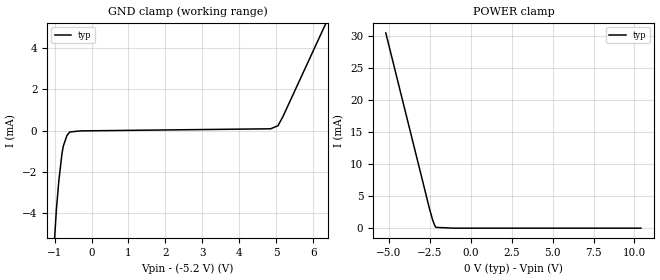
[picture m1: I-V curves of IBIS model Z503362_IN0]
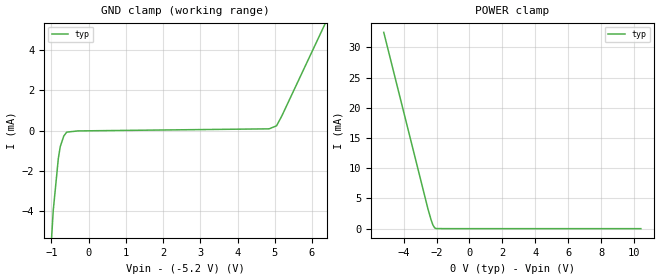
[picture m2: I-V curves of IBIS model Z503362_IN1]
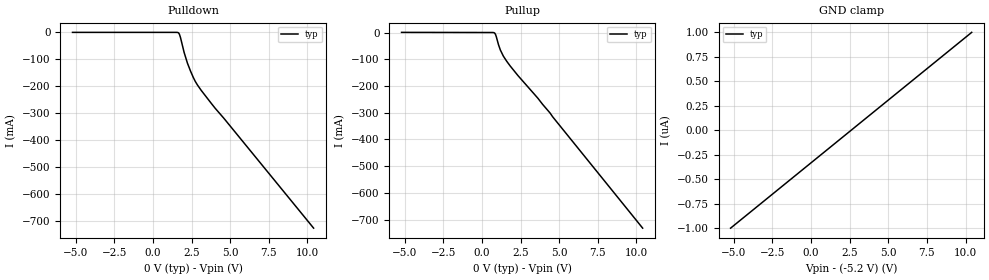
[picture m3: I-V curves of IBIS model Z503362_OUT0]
| YOU ARE ONLY AUTHORIZED TO USE THIS SOFTWARE
| ACCORDING TO LICENSOR'S LICENSE RESTRICTIONS.
[IBIS Ver] 3.1
[File Name] mc100e116fn.ibs
[File Rev] 2.0
[Source] Measured and created by ICX Technology
[Date] Friday 7/14/00 9:07:47 AM
[Copyright]
| (C) COPYRIGHT 1993-2000
| MENTOR GRAPHICS CORPORATION
| ICX STANDARD LIBRARY, ICX PROJECT MODELING,
| ICX CUSTOM MODELING, ICX VENDOR MODEL
| ALL RIGHTS RESERVED.
| THE FOLLOWING ARE TRADEMARKS OR SERVICE MARKS OF
| MENTOR GRAPHICS CORPORATION:ICX (R), ICX STANDARD
| LIBRARY(R), ICX PROJECT MODELING(R), ICX CUSTOM
| MODELING(R), qualityIBIS(TM), MODELVIEWER(TM),
| AND MODELEDITOR(TM)
| ALL COPIES OF SOFTWARE, INCLUDING BUT NOT LIMITED TO
| ANY MODIFICATIONS, ENHANCEMENTS OR DERIVATIVE WORKS,
| MUST CONTAIN ALL MENTOR GRAPHICS CORPORATION'S
| NOTICES AND LEGENDS, INCLUDING THOSE EMBEDDED IN
| SOFTWARE AND THOSE AFFIXED TO SOFTWARE MEDIUM
| AND CONTAINER, AS RECEIVED FROM MENTOR GRAPHICS
| CORPORATION.
|  ZAP Model Builder 2.7
[Component] MC100E116FN
[Manufacturer] OnSemiconductor
[Package]
| variable   typ   min   max
R_pkg  .083ohms NA NA
L_pkg  4.299nH NA NA
C_pkg  1.045pF NA NA
[Pin] signal_name  model_name  R_pin  L_pin C_pin
1 VEE POWER .08 3.94n .925p
2 VBB POWER .082 4.14n .995p
3 D0 Z503362_IN0 .084 4.354n 1.065p
4 _D0 Z503362_IN1 .086 4.583n 1.135p
5 D1 Z503362_IN0 .086 4.583n 1.135p
6 _D1 Z503362_IN1 .084 4.354n 1.065p
7 VCCO POWER .082 4.14n .995p
8 Q0 Z503362_OUT0 .08 3.94n .925p
9 _Q0 Z503362_OUT1 .082 4.14n .995p
10 VCCO POWER .084 4.354n 1.065p
11 Q1 Z503362_OUT0 .086 4.583n 1.135p
12 _Q1 Z503362_OUT1 .086 4.583n 1.135p
13 VCCO POWER .084 4.354n 1.065p
14 Q2 Z503362_OUT0 .082 4.14n .995p
15 _Q2 Z503362_OUT1 .08 3.94n .925p
16 VCC POWER .082 4.14n .995p
17 Q3 Z503362_OUT0 .084 4.354n 1.065p
18 _Q3 Z503362_OUT1 .086 4.583n 1.135p
19 VCCO POWER .086 4.583n 1.135p
20 Q4 Z503362_OUT0 .084 4.354n 1.065p
21 _Q4 Z503362_OUT1 .082 4.14n .995p
22 VCCO POWER .08 3.94n .925p
23 D4 Z503362_IN0 .082 4.14n .995p
24 _D4 Z503362_IN1 .084 4.354n 1.065p
25 D3 Z503362_IN0 .086 4.583n 1.135p
26 _D3 Z503362_IN1 .086 4.583n 1.135p
27 D2 Z503362_IN0 .084 4.354n 1.065p
28 _D2 Z503362_IN1 .082 4.14n .995p
| Models and submodels in the file (4): Z503362_IN0 (Input_ECL), Z503362_IN1 (Input_ECL), Z503362_OUT0 (Output_ECL), Z503362_OUT1 (Output_ECL)
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| (C) COPYRIGHT 1993-2000
| MENTOR GRAPHICS CORPORATION
| ICX STANDARD LIBRARY, ICX PROJECT MODELING,
| ICX CUSTOM MODELING, ICX VENDOR MODEL
| ALL RIGHTS RESERVED.
| THE FOLLOWING ARE TRADEMARKS OR SERVICE MARKS OF
| MENTOR GRAPHICS CORPORATION:ICX (R), ICX STANDARD
| LIBRARY(R), ICX PROJECT MODELING(R), ICX CUSTOM
| MODELING(R), qualityIBIS(TM), MODELVIEWER(TM),
| AND MODELEDITOR(TM)
| ALL COPIES OF SOFTWARE, INCLUDING BUT NOT LIMITED TO
| ANY MODIFICATIONS, ENHANCEMENTS OR DERIVATIVE WORKS,
| MUST CONTAIN ALL MENTOR GRAPHICS CORPORATION'S
| NOTICES AND LEGENDS, INCLUDING THOSE EMBEDDED IN
| SOFTWARE AND THOSE AFFIXED TO SOFTWARE MEDIUM
| AND CONTAINER, AS RECEIVED FROM MENTOR GRAPHICS
| CORPORATION.
| Model Application Version 1.89 2/18/99.
[Model] Z503362_IN0
Model_type Input_ECL
Vinl = -1.475V
Vinh = -1.165V
C_comp 4.000pF NA NA
| variable typ   min   max
[Voltage Range] -5.200V NA NA
[GND Clamp Reference] -5.200V NA NA
[POWER Clamp Reference] 0.000V NA NA
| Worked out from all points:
|   GND clamp passes 1 mA (typ) near -0.79 V on its own axis
|   POWER clamp passes 1 mA (typ) near -2.29 V on its own axis
[GND Clamp]
-5.2V     -171.2mA   NA         NA
-1.121V   -8.732mA   NA         NA
-952mV    -3.856mA   NA         NA
-884mV    -2.42mA    NA         NA
-800mV    -1.12mA    NA         NA
-765mV    -761.6uA   NA         NA
-668mV    -252.2uA   NA         NA
-591mV    -71.36uA   NA         NA
4.848V    84.18uA    NA         NA
5.048V    232.5uA    NA         NA
5.185V    690.6uA    NA         NA
10.4V     20.99mA    NA         NA
[POWER Clamp]
-5.2V     30.54mA    NA         NA
-2.51V    2.862mA    NA         NA
-2.333V   1.271mA    NA         NA
-2.206V   406.3uA    NA         NA
-2.133V   120.4uA    NA         NA
-1.066V   0A         NA         NA
10.4V     0A         NA         NA
| (C) COPYRIGHT 1993-2000
| MENTOR GRAPHICS CORPORATION
| ICX STANDARD LIBRARY, ICX PROJECT MODELING,
| ICX CUSTOM MODELING, ICX VENDOR MODEL
| ALL RIGHTS RESERVED.
| THE FOLLOWING ARE TRADEMARKS OR SERVICE MARKS OF
| MENTOR GRAPHICS CORPORATION:ICX (R), ICX STANDARD
| LIBRARY(R), ICX PROJECT MODELING(R), ICX CUSTOM
| MODELING(R), qualityIBIS(TM), MODELVIEWER(TM),
| AND MODELEDITOR(TM)
| ALL COPIES OF SOFTWARE, INCLUDING BUT NOT LIMITED TO
| ANY MODIFICATIONS, ENHANCEMENTS OR DERIVATIVE WORKS,
| MUST CONTAIN ALL MENTOR GRAPHICS CORPORATION'S
| NOTICES AND LEGENDS, INCLUDING THOSE EMBEDDED IN
| SOFTWARE AND THOSE AFFIXED TO SOFTWARE MEDIUM
| AND CONTAINER, AS RECEIVED FROM MENTOR GRAPHICS
| CORPORATION.
| Model Application Version 1.89 2/18/99.
[Model] Z503362_IN1
Model_type Input_ECL
Vinl = -1.475V
Vinh = -1.165V
C_comp 4.000pF NA NA
| variable typ   min   max
[Voltage Range] -5.200V NA NA
[GND Clamp Reference] -5.200V NA NA
[POWER Clamp Reference] 0.000V NA NA
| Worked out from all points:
|   GND clamp passes 1 mA (typ) near -0.78 V on its own axis
|   POWER clamp passes 1 mA (typ) near -2.27 V on its own axis
[GND Clamp]
-5.2V     -188.9mA   NA         NA
-1.118V   -9.053mA   NA         NA
-952mV    -3.971mA   NA         NA
-816mV    -1.393mA   NA         NA
-764mV    -800.8uA   NA         NA
-668mV    -269uA     NA         NA
-591mV    -80.66uA   NA         NA
-295.5mV  -19.6uA    NA         NA
4.849V    83.95uA    NA         NA
5.048V    235uA      NA         NA
5.185V    709uA      NA         NA
10.4V     21.26mA    NA         NA
[POWER Clamp]
-5.2V     32.5mA     NA         NA
-2.505V   3.132mA    NA         NA
-2.329V   1.466mA    NA         NA
-2.221V   621uA      NA         NA
-2.109V   125.3uA    NA         NA
-2.016V   12.74uA    NA         NA
-1.008V   0A         NA         NA
10.4V     0A         NA         NA
| (C) COPYRIGHT 1993-2000
| MENTOR GRAPHICS CORPORATION
| ICX STANDARD LIBRARY, ICX PROJECT MODELING,
| ICX CUSTOM MODELING, ICX VENDOR MODEL
| ALL RIGHTS RESERVED.
| THE FOLLOWING ARE TRADEMARKS OR SERVICE MARKS OF
| MENTOR GRAPHICS CORPORATION:ICX (R), ICX STANDARD
| LIBRARY(R), ICX PROJECT MODELING(R), ICX CUSTOM
| MODELING(R), qualityIBIS(TM), MODELVIEWER(TM),
| AND MODELEDITOR(TM)
| ALL COPIES OF SOFTWARE, INCLUDING BUT NOT LIMITED TO
| ANY MODIFICATIONS, ENHANCEMENTS OR DERIVATIVE WORKS,
| MUST CONTAIN ALL MENTOR GRAPHICS CORPORATION'S
| NOTICES AND LEGENDS, INCLUDING THOSE EMBEDDED IN
| SOFTWARE AND THOSE AFFIXED TO SOFTWARE MEDIUM
| AND CONTAINER, AS RECEIVED FROM MENTOR GRAPHICS
| CORPORATION.
| Model Application Version 1.89 2/18/99.
[Model] Z503362_OUT0
Model_type Output_ECL
Vref=-2.000V
Rref=50.00ohms
Cref=0.000F
Vmeas=-1.320V
C_comp 8.000pF NA NA
| variable typ   min   max
[Voltage Range] -5.200V NA NA
[POWER Clamp Reference] 0.000V NA NA
[Pullup Reference] 0.000V NA NA
[Pulldown Reference] 0.000V NA NA
[GND Clamp Reference] -5.200V NA NA
[GND Clamp]
-5.2V     -1uA       NA         NA
10.4V     1uA        NA         NA
[Pulldown]
-5.2V     75.57uA    NA         NA
1.663V    -1.889mA   NA         NA
1.715V    -6.552mA   NA         NA
1.786V    -18.93mA   NA         NA
2.021V    -74.16mA   NA         NA
2.236V    -114.1mA   NA         NA
2.618V    -167.5mA   NA         NA
2.872V    -194.1mA   NA         NA
4.034V    -281.7mA   NA         NA
10.4V     -726.2mA   NA         NA
[Pullup]
-5.2V     519.6uA    NA         NA
825.1mV   -2.074mA   NA         NA
931.4mV   -15.78mA   NA         NA
1.074V    -45.8mA    NA         NA
1.193V    -65.52mA   NA         NA
1.387V    -88.38mA   NA         NA
1.826V    -125mA     NA         NA
4.414V    -301.6mA   NA         NA
10.4V     -732.1mA   NA         NA
[POWER Clamp]
-5.2V     0A         NA         NA
10.4V     0A         NA         NA
[Ramp]
| variable typ min max
dV/dt_r 450.9m/206.4p NA NA
dV/dt_f 450.9m/177.0p NA NA
R_load = 50.00Ohms
